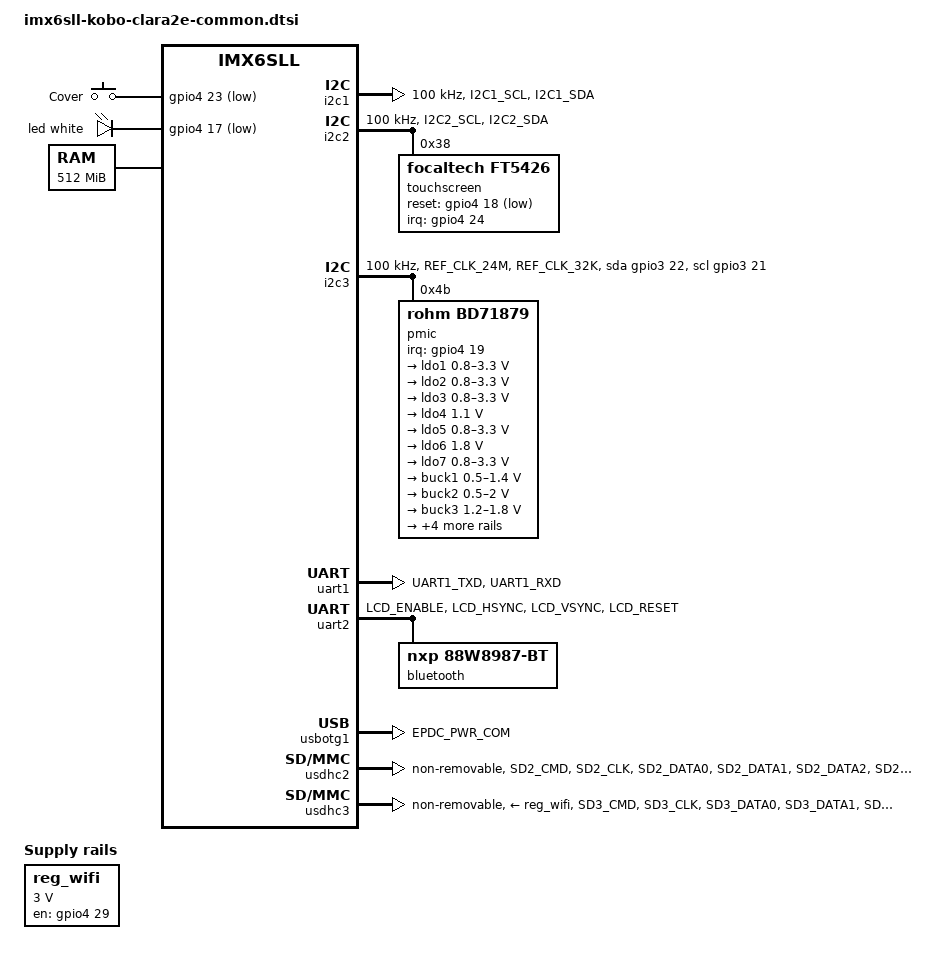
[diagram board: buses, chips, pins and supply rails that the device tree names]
// SPDX-License-Identifier: (GPL-2.0)
/*
 * Common part for Kobo Clara 2e device tree
 * Copyright 2024 Andreas Kemnade
 */

/dts-v1/;

#include <dt-bindings/input/input.h>
#include <dt-bindings/gpio/gpio.h>
#include <dt-bindings/leds/common.h>
#include "imx6sll.dtsi"

/ {
	aliases {
		mmc0 = &usdhc2;
		mmc1 = &usdhc3;
	};

	chosen {
		stdout-path = &uart1;
	};

	gpio-keys {
		compatible = "gpio-keys";
		pinctrl-names = "default";
		pinctrl-0 = <&pinctrl_gpio_keys>;

		key-cover {
			label = "Cover";
			gpios = <&gpio4 23 GPIO_ACTIVE_LOW>;
			linux,code = <SW_LID>;
			linux,input-type = <EV_SW>;
			wakeup-source;
		};
	};

	leds {
		compatible = "gpio-leds";
		pinctrl-names = "default";
		pinctrl-0 = <&pinctrl_led>;

		led {
			color = <LED_COLOR_ID_WHITE>;
			function = LED_FUNCTION_POWER;
			gpios = <&gpio4 17 GPIO_ACTIVE_LOW>;
			linux,default-trigger = "timer";
		};
	};

	memory@80000000 {
		device_type = "memory";
		reg = <0x80000000 0x20000000>;
	};

	reg_wifi: regulator-wifi {
		compatible = "regulator-fixed";
		regulator-name = "SD3_SPWR";
		regulator-min-microvolt = <3000000>;
		regulator-max-microvolt = <3000000>;
		gpio = <&gpio4 29 GPIO_ACTIVE_HIGH>;
		enable-active-high;
	};
};

&clks {
	assigned-clocks = <&clks IMX6SLL_CLK_PLL4_AUDIO_DIV>;
	assigned-clock-rates = <393216000>;
};

&cpu0 {
	arm-supply = <&buck1>;
	soc-supply = <&buck2>;
};

&i2c1 {
	pinctrl-names = "default","sleep";
	pinctrl-0 = <&pinctrl_i2c1>;
	pinctrl-1 = <&pinctrl_i2c1_sleep>;
	clock-frequency = <100000>;
	status = "okay";

	/* backlight aw99703 at 0x36 */
};

&i2c2 {
	pinctrl-names = "default","sleep";
	pinctrl-0 = <&pinctrl_i2c2>;
	pinctrl-1 = <&pinctrl_i2c2_sleep>;
	clock-frequency = <100000>;
	status = "okay";

	/* backlight aw99703 at 0x36 */

	touchscreen@38 {
		compatible = "focaltech,ft5426";
		reg = <0x38>;
		pinctrl-names = "default", "suspend";
		pinctrl-0 = <&pinctrl_touch_gpio>;
		pinctrl-1 = <&pinctrl_touch_gpio_sleep>;
		interrupt-parent = <&gpio4>;
		interrupts = <24 IRQ_TYPE_EDGE_FALLING>;
		reset-gpios = <&gpio4 18 GPIO_ACTIVE_LOW>;
		touchscreen-size-x = <1072>;
		touchscreen-size-y = <1448>;
		touchscreen-swapped-x-y;
	};
};

&i2c3 {
	/* Bus seems to be in bad state after boot, allow full recovery */
	pinctrl-names = "default", "gpio";
	pinctrl-0 = <&pinctrl_i2c3>;
	pinctrl-1 = <&pinctrl_i2c3_gpio>;
	sda-gpios = <&gpio3 22 GPIO_ACTIVE_HIGH>;
	scl-gpios = <&gpio3 21 GPIO_ACTIVE_HIGH>;
	clock-frequency = <100000>;
	status = "okay";

	pmic@4b {
		compatible = "rohm,bd71879", "rohm,bd71828";
		reg = <0x4b>;
		pinctrl-names = "default";
		pinctrl-0 = <&pinctrl_bd71828>;
		interrupt-parent = <&gpio4>;
		interrupts = <19 IRQ_TYPE_LEVEL_LOW>;
		system-power-controller;
		clocks = <&clks 0>;
		#clock-cells = <0>;
		clock-output-names = "bd71828-32k-out";
		gpio-controller;
		#gpio-cells = <2>;
		gpio-reserved-ranges = <0 1>, <2 1>;

		/* charge sense resistor is 30 milli-ohm */

		regulators {
			LDO1 {
				name = "LDO1";
				regulator-name = "ldo1";
				regulator-min-microvolt = <800000>;
				regulator-max-microvolt = <3300000>;
			};

			LDO2 {
				name = "LDO2";
				regulator-name = "ldo2";
				regulator-min-microvolt = <800000>;
				regulator-max-microvolt = <3300000>;
			};

			LDO3 {
				name = "LDO3";
				regulator-name = "ldo3";
				regulator-min-microvolt = <800000>;
				regulator-max-microvolt = <3300000>;
			};

			ldo4: LDO4 {
				name = "LDO4";
				regulator-name = "ldo4";
				regulator-always-on;
				regulator-min-microvolt = <1100000>;
				regulator-max-microvolt = <1100000>;
			};

			LDO5 {
				name = "LDO5";
				regulator-name = "ldo5";
				regulator-always-on;
				regulator-min-microvolt = <800000>;
				regulator-max-microvolt = <3300000>;
			};

			LDO6 {
				name = "LDO6";
				regulator-name = "ldo6";
				regulator-min-microvolt = <1800000>;
				regulator-max-microvolt = <1800000>;
			};

			LDO7 {
				name = "LDO7";
				regulator-name = "ldo7";
				regulator-always-on;
				regulator-min-microvolt = <800000>;
				regulator-max-microvolt = <3300000>;
				regulator-boot-on;
			};

			buck1: BUCK1 {
				name = "BUCK1";
				regulator-name = "buck1";
				regulator-always-on;
				regulator-min-microvolt = <500000>;
				regulator-max-microvolt = <1400000>;
				regulator-boot-on;
			};

			buck2: BUCK2 {
				name = "BUCK2";
				regulator-name = "buck2";
				regulator-always-on;
				regulator-min-microvolt = <500000>;
				regulator-max-microvolt = <2000000>;
				regulator-boot-on;
			};

			BUCK3 {
				name = "BUCK3";
				regulator-name = "buck3";
				regulator-always-on;
				regulator-min-microvolt = <1200000>;
				regulator-max-microvolt = <1800000>;
				regulator-boot-on;
			};

			BUCK4 {
				name = "BUCK4";
				regulator-name = "buck4";
				regulator-always-on;
				regulator-min-microvolt = <1000000>;
				regulator-max-microvolt = <1200000>;
				regulator-boot-on;
			};

			BUCK5 {
				name = "BUCK5";
				regulator-name = "buck5";
				regulator-always-on;
				regulator-min-microvolt = <2500000>;
				regulator-max-microvolt = <3300000>;
				regulator-boot-on;
			};

			BUCK6 {
				name = "BUCK6";
				regulator-name = "buck6";
				regulator-min-microvolt = <500000>;
				regulator-max-microvolt = <2000000>;
			};

			BUCK7 {
				name = "BUCK7";
				regulator-name = "buck7";
				regulator-min-microvolt = <500000>;
				regulator-max-microvolt = <2000000>;
			};
		};
	};
};

&iomuxc {
	pinctrl_bd71828: bd71828-gpiogrp {
		fsl,pins = <
			MX6SLL_PAD_KEY_COL0__GPIO3_IO24		0x1b8b1
			MX6SLL_PAD_GPIO4_IO19__GPIO4_IO19	0x1b8b1
		>;
	};

	pinctrl_gpio_keys: gpio-keysgrp {
		fsl,pins = <
			MX6SLL_PAD_GPIO4_IO25__GPIO4_IO25	0x17059	/* PWR_SW */
			MX6SLL_PAD_GPIO4_IO23__GPIO4_IO23	0x17059	/* HALL_EN */
		>;
	};

	pinctrl_i2c1: i2c1grp {
		fsl,pins = <
			MX6SLL_PAD_I2C1_SCL__I2C1_SCL	0x4001f8b1
			MX6SLL_PAD_I2C1_SDA__I2C1_SDA	0x4001f8b1
		>;
	};

	pinctrl_i2c1_sleep: i2c1-sleepgrp {
		fsl,pins = <
			MX6SLL_PAD_I2C1_SCL__I2C1_SCL	0x400108b1
			MX6SLL_PAD_I2C1_SDA__I2C1_SDA	0x400108b1
		>;
	};

	pinctrl_i2c2: i2c2grp {
		fsl,pins = <
			MX6SLL_PAD_I2C2_SCL__I2C2_SCL	0x4001f8b1
			MX6SLL_PAD_I2C2_SDA__I2C2_SDA	0x4001f8b1
		>;
	};

	pinctrl_i2c2_sleep: i2c2-sleepgrp {
		fsl,pins = <
			MX6SLL_PAD_I2C2_SCL__I2C2_SCL	0x400108b1
			MX6SLL_PAD_I2C2_SDA__I2C2_SDA	0x400108b1
		>;
	};

	pinctrl_i2c3: i2c3grp {
		fsl,pins = <
			MX6SLL_PAD_REF_CLK_24M__I2C3_SCL 0x4001f8b1
			MX6SLL_PAD_REF_CLK_32K__I2C3_SDA 0x4001f8b1
		>;
	};

	pinctrl_i2c3_gpio: i2c3-gpiogrp {
		fsl,pins = <
			MX6SLL_PAD_REF_CLK_24M__GPIO3_IO21 0x4001f8b1
			MX6SLL_PAD_REF_CLK_32K__GPIO3_IO22 0x4001f8b1
		>;
	};

	pinctrl_led: ledgrp {
		fsl,pins = <
			MX6SLL_PAD_GPIO4_IO17__GPIO4_IO17 0x10059
		>;
	};

	pinctrl_touch_gpio: touch-gpiogrp {
		fsl,pins = <
			MX6SLL_PAD_GPIO4_IO24__GPIO4_IO24	0x17059 /* TP_INT */
			MX6SLL_PAD_GPIO4_IO18__GPIO4_IO18	0x10059 /* TP_RST */
		>;
	};

	pinctrl_touch_gpio_sleep: touch-gpio-sleepgrp {
		fsl,pins = <
			MX6SLL_PAD_GPIO4_IO24__GPIO4_IO24	0x10059 /* TP_INT */
			MX6SLL_PAD_GPIO4_IO18__GPIO4_IO18	0x10059 /* TP_RST */
		>;
	};

	pinctrl_uart1: uart1grp {
		fsl,pins = <
			MX6SLL_PAD_UART1_TXD__UART1_DCE_TX 0x1b0b1
			MX6SLL_PAD_UART1_RXD__UART1_DCE_RX 0x1b0b1
		>;
	};

	pinctrl_uart2: uart2grp {
		fsl,pins = <
			MX6SLL_PAD_LCD_ENABLE__UART2_DCE_RX	0x41b0b1
			MX6SLL_PAD_LCD_HSYNC__UART2_DCE_TX	0x41b0b1
			MX6SLL_PAD_LCD_VSYNC__UART2_DCE_RTS	0x41b0b1
			MX6SLL_PAD_LCD_RESET__UART2_DCE_CTS	0x41b0b1
		>;
	};

	pinctrl_uart2_sleep: uart2-sleepgrp {
		fsl,pins = <
			MX6SLL_PAD_LCD_ENABLE__GPIO2_IO16	0x10059
			MX6SLL_PAD_LCD_HSYNC__GPIO2_IO17	0x10059
			MX6SLL_PAD_LCD_VSYNC__GPIO2_IO18	0x10059
			MX6SLL_PAD_LCD_RESET__GPIO2_IO19	0x10059
		>;
	};

	pinctrl_usbotg1: usbotg1grp {
		fsl,pins = <
			MX6SLL_PAD_EPDC_PWR_COM__USB_OTG1_ID 0x17059
		>;
	};

	pinctrl_usdhc2: usdhc2grp {
		fsl,pins = <
			MX6SLL_PAD_SD2_CMD__SD2_CMD		0x17059
			MX6SLL_PAD_SD2_CLK__SD2_CLK		0x13059
			MX6SLL_PAD_SD2_DATA0__SD2_DATA0		0x17059
			MX6SLL_PAD_SD2_DATA1__SD2_DATA1		0x17059
			MX6SLL_PAD_SD2_DATA2__SD2_DATA2		0x17059
			MX6SLL_PAD_SD2_DATA3__SD2_DATA3		0x17059
		>;
	};

	pinctrl_usdhc2_100mhz: usdhc2-100mhzgrp {
		fsl,pins = <
			MX6SLL_PAD_SD2_CMD__SD2_CMD		0x170b9
			MX6SLL_PAD_SD2_CLK__SD2_CLK		0x130b9
			MX6SLL_PAD_SD2_DATA0__SD2_DATA0		0x170b9
			MX6SLL_PAD_SD2_DATA1__SD2_DATA1		0x170b9
			MX6SLL_PAD_SD2_DATA2__SD2_DATA2		0x170b9
			MX6SLL_PAD_SD2_DATA3__SD2_DATA3		0x170b9
		>;
	};

	pinctrl_usdhc2_200mhz: usdhc2-200mhzgrp {
		fsl,pins = <
			MX6SLL_PAD_SD2_CMD__SD2_CMD		0x170f9
			MX6SLL_PAD_SD2_CLK__SD2_CLK		0x130f9
			MX6SLL_PAD_SD2_DATA0__SD2_DATA0		0x170f9
			MX6SLL_PAD_SD2_DATA1__SD2_DATA1		0x170f9
			MX6SLL_PAD_SD2_DATA2__SD2_DATA2		0x170f9
			MX6SLL_PAD_SD2_DATA3__SD2_DATA3		0x170f9
		>;
	};

	pinctrl_usdhc2_sleep: usdhc2-sleepgrp {
		fsl,pins = <
			MX6SLL_PAD_SD2_CMD__GPIO5_IO04		0x100f9
			MX6SLL_PAD_SD2_CLK__GPIO5_IO05		0x100f9
			MX6SLL_PAD_SD2_DATA0__GPIO5_IO01	0x100f9
			MX6SLL_PAD_SD2_DATA1__GPIO4_IO30	0x100f9
			MX6SLL_PAD_SD2_DATA2__GPIO5_IO03	0x100f9
			MX6SLL_PAD_SD2_DATA3__GPIO4_IO28	0x100f9
		>;
	};

	pinctrl_usdhc3: usdhc3grp {
		fsl,pins = <
			MX6SLL_PAD_SD3_CMD__SD3_CMD	0x11059
			MX6SLL_PAD_SD3_CLK__SD3_CLK	0x11059
			MX6SLL_PAD_SD3_DATA0__SD3_DATA0	0x11059
			MX6SLL_PAD_SD3_DATA1__SD3_DATA1	0x11059
			MX6SLL_PAD_SD3_DATA2__SD3_DATA2	0x11059
			MX6SLL_PAD_SD3_DATA3__SD3_DATA3	0x11059
		>;
	};

	pinctrl_usdhc3_100mhz: usdhc3-100mhzgrp {
		fsl,pins = <
			MX6SLL_PAD_SD3_CMD__SD3_CMD	0x170b9
			MX6SLL_PAD_SD3_CLK__SD3_CLK	0x170b9
			MX6SLL_PAD_SD3_DATA0__SD3_DATA0	0x170b9
			MX6SLL_PAD_SD3_DATA1__SD3_DATA1	0x170b9
			MX6SLL_PAD_SD3_DATA2__SD3_DATA2	0x170b9
			MX6SLL_PAD_SD3_DATA3__SD3_DATA3	0x170b9
		>;
	};

	pinctrl_usdhc3_200mhz: usdhc3-200mhzgrp {
		fsl,pins = <
			MX6SLL_PAD_SD3_CMD__SD3_CMD	0x170f9
			MX6SLL_PAD_SD3_CLK__SD3_CLK	0x170f9
			MX6SLL_PAD_SD3_DATA0__SD3_DATA0	0x170f9
			MX6SLL_PAD_SD3_DATA1__SD3_DATA1	0x170f9
			MX6SLL_PAD_SD3_DATA2__SD3_DATA2	0x170f9
			MX6SLL_PAD_SD3_DATA3__SD3_DATA3	0x170f9
		>;
	};

	pinctrl_usdhc3_sleep: usdhc3-sleepgrp {
		fsl,pins = <
			MX6SLL_PAD_SD3_CMD__GPIO5_IO21	0x100c1
			MX6SLL_PAD_SD3_CLK__GPIO5_IO18	0x100c1
			MX6SLL_PAD_SD3_DATA0__GPIO5_IO19	0x100c1
			MX6SLL_PAD_SD3_DATA1__GPIO5_IO20	0x100c1
			MX6SLL_PAD_SD3_DATA2__GPIO5_IO16	0x100c1
			MX6SLL_PAD_SD3_DATA3__GPIO5_IO17	0x100c1
		>;
	};

	pinctrl_wifi_power: wifi-powergrp {
		fsl,pins = <
			MX6SLL_PAD_SD2_DATA6__GPIO4_IO29	0x10059
		>;
	};
};

&snvs_rtc {
	/* we are using the rtc in the pmic, not disabled in imx6sll.dtsi */
	status = "disabled";
};

&uart1 {
	pinctrl-names = "default";
	pinctrl-0 = <&pinctrl_uart1>;
	status = "okay";
};

&uart2 {
	pinctrl-names = "default", "sleep";
	pinctrl-0 = <&pinctrl_uart2>;
	pinctrl-1 = <&pinctrl_uart2_sleep>;
	status = "okay";

	/* requires LDO4 + power enable gpio */
	bluetooth {
		compatible = "nxp,88w8987-bt";
		fw-init-baudrate = <1500000>;
	};
};

&usbotg1 {
	pinctrl-names = "default";
	pinctrl-0 = <&pinctrl_usbotg1>;
	disable-over-current;
	srp-disable;
	hnp-disable;
	adp-disable;
	status = "okay";
};

&usdhc2 {
	pinctrl-names = "default", "state_100mhz", "state_200mhz","sleep";
	pinctrl-0 = <&pinctrl_usdhc2>;
	pinctrl-1 = <&pinctrl_usdhc2_100mhz>;
	pinctrl-2 = <&pinctrl_usdhc2_200mhz>;
	pinctrl-3 = <&pinctrl_usdhc2_sleep>;
	non-removable;
	status = "okay";
};

&usdhc3 {
	pinctrl-names = "default", "state_100mhz", "state_200mhz","sleep";
	pinctrl-0 = <&pinctrl_usdhc3>;
	pinctrl-1 = <&pinctrl_usdhc3_100mhz>;
	pinctrl-2 = <&pinctrl_usdhc3_200mhz>;
	pinctrl-3 = <&pinctrl_usdhc3_sleep>;
	/* card requires also ldo4 */
	vmmc-supply = <&reg_wifi>;
	cap-power-off-card;
	non-removable;
	status = "okay";
};
